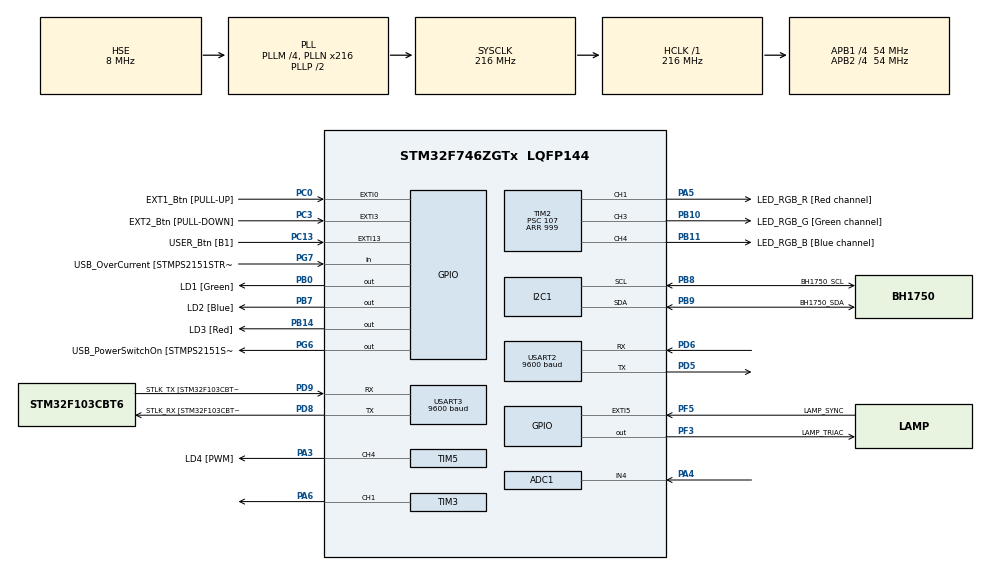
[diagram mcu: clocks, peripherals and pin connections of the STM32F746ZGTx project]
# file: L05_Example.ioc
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ADC1.Channel-0\#ChannelRegularConversion=ADC_CHANNEL_4
ADC1.NbrOfConversionFlag=1
ADC1.Rank-0\#ChannelRegularConversion=1
ADC1.SamplingTime-0\#ChannelRegularConversion=ADC_SAMPLETIME_3CYCLES
ADC1.master=1
ARM.CMSIS.5.7.0.CMSISJjCORE=true
ARM.CMSIS.5.7.0.CMSISJjDSP=Library
Dma.ADC1.0.Direction=DMA_PERIPH_TO_MEMORY
Dma.ADC1.0.FIFOMode=DMA_FIFOMODE_DISABLE
Dma.ADC1.0.Instance=DMA2_Stream0
Dma.ADC1.0.MemDataAlignment=DMA_MDATAALIGN_HALFWORD
Dma.ADC1.0.MemInc=DMA_MINC_ENABLE
Dma.ADC1.0.Mode=DMA_CIRCULAR
Dma.ADC1.0.PeriphDataAlignment=DMA_PDATAALIGN_HALFWORD
Dma.ADC1.0.PeriphInc=DMA_PINC_DISABLE
Dma.ADC1.0.Priority=DMA_PRIORITY_LOW
Dma.Request0=ADC1
I2C1.Timing=0x20404768
Mcu.Family=STM32F7
Mcu.Name=STM32F746ZGTx
Mcu.Package=LQFP144
NVIC.ADC_IRQn=true\:0\:0\:false\:false\:true\:true\:true\:true
NVIC.DMA2_Stream0_IRQn=true\:0\:0\:false\:false\:true\:false\:true\:true
NVIC.EXTI15_10_IRQn=true\:0\:0\:false\:false\:true\:true\:true\:true
NVIC.EXTI9_5_IRQn=true\:0\:0\:false\:false\:true\:true\:true\:true
NVIC.PriorityGroup=NVIC_PRIORITYGROUP_4
NVIC.TIM2_IRQn=true\:0\:0\:false\:false\:true\:true\:true\:true
NVIC.TIM4_IRQn=true\:0\:0\:false\:false\:true\:true\:true\:true
NVIC.TIM6_DAC_IRQn=true\:0\:0\:false\:false\:true\:true\:true\:true
NVIC.USART2_IRQn=true\:0\:0\:false\:false\:true\:true\:true\:true
NVIC.USART3_IRQn=true\:0\:0\:false\:false\:true\:true\:true\:true
PA1.GPIO_Label=RMII_REF_CLK [LAN8742A-CZ-TR_REFCLK0]
PA1.Signal=ETH_REF_CLK
PA10.GPIO_Label=USB_ID
PA10.Signal=USB_OTG_FS_ID
PA11.GPIO_Label=USB_DM
PA11.Signal=USB_OTG_FS_DM
PA12.GPIO_Label=USB_DP
PA12.Signal=USB_OTG_FS_DP
PA13.GPIO_Label=TMS
PA13.Mode=Serial_Wire
PA13.Signal=SYS_JTMS-SWDIO
PA14.GPIO_Label=TCK
PA14.Mode=Serial_Wire
PA14.Signal=SYS_JTCK-SWCLK
PA2.GPIO_Label=RMII_MDIO [LAN8742A-CZ-TR_MDIO]
PA2.Signal=ETH_MDIO
PA3.GPIO_Label=LD4 [PWM]
PA3.Signal=S_TIM5_CH4
PA4.Signal=ADCx_IN4
PA5.GPIO_Label=LED_RGB_R [Red channel]
PA5.Signal=S_TIM2_CH1_ETR
PA6.Signal=S_TIM3_CH1
PA7.GPIO_Label=RMII_CRS_DV [LAN8742A-CZ-TR_CRS_DV]
PA7.Signal=ETH_CRS_DV
PA8.GPIO_Label=USB_SOF [TP1]
PA8.Signal=USB_OTG_FS_SOF
PA9.GPIO_Label=USB_VBUS
PA9.Signal=USB_OTG_FS_VBUS
PB0.GPIO_Label=LD1 [Green]
PB0.Signal=GPIO_Output
PB10.GPIO_Label=LED_RGB_G [Green channel]
PB10.Signal=S_TIM2_CH3
PB11.GPIO_Label=LED_RGB_B [Blue channel]
PB11.Signal=S_TIM2_CH4
PB13.GPIO_Label=RMII_TXD1 [LAN8742A-CZ-TR_TXD1]
PB13.Signal=ETH_TXD1
PB14.GPIO_Label=LD3 [Red]
PB14.Signal=GPIO_Output
PB3.GPIO_Label=SW0
PB3.Signal=SYS_JTDO-SWO
PB7.GPIO_Label=LD2 [Blue]
PB7.Signal=GPIO_Output
PB8.GPIO_Label=BH1750_SCL
PB8.Mode=I2C
PB8.Signal=I2C1_SCL
PB9.GPIO_Label=BH1750_SDA
PB9.Mode=I2C
PB9.Signal=I2C1_SDA
PC0.GPIO_Label=EXT1_Btn [PULL-UP]
PC0.GPIO_ModeDefaultEXTI=GPIO_MODE_IT_FALLING
PC0.GPIO_PuPd=GPIO_PULLUP
PC0.Signal=GPXTI0
PC1.GPIO_Label=RMII_MDC [LAN8742A-CZ-TR_MDC]
PC1.Signal=ETH_MDC
PC13.GPIO_Label=USER_Btn [B1]
PC13.Signal=GPXTI13
PC14/OSC32_IN.Mode=LSE-External-Oscillator
PC14/OSC32_IN.Signal=RCC_OSC32_IN
PC15/OSC32_OUT.Mode=LSE-External-Oscillator
PC15/OSC32_OUT.Signal=RCC_OSC32_OUT
PC3.GPIO_Label=EXT2_Btn [PULL-DOWN]
PC3.GPIO_PuPd=GPIO_PULLDOWN
PC3.Signal=GPXTI3
PC4.GPIO_Label=RMII_RXD0 [LAN8742A-CZ-TR_RXD0]
PC4.Signal=ETH_RXD0
PC5.GPIO_Label=RMII_RXD1 [LAN8742A-CZ-TR_RXD1]
PC5.Signal=ETH_RXD1
PD12.Signal=S_TIM4_CH1
PD5.Mode=Asynchronous
PD5.Signal=USART2_TX
PD6.Mode=Asynchronous
PD6.Signal=USART2_RX
PD8.GPIO_Label=STLK_RX [STM32F103CBT6_PA3]
PD8.Mode=Asynchronous
PD8.Signal=USART3_TX
PD9.GPIO_Label=STLK_TX [STM32F103CBT6_PA2]
PD9.Mode=Asynchronous
PD9.Signal=USART3_RX
PF3.GPIO_Label=LAMP_TRIAC
PF3.GPIO_Speed=GPIO_SPEED_FREQ_HIGH
PF3.Signal=GPIO_Output
PF5.GPIO_Label=LAMP_SYNC
PF5.Signal=GPXTI5
PG11.GPIO_Label=RMII_TX_EN [LAN8742A-CZ-TR_TXEN]
PG11.Signal=ETH_TX_EN
PG13.GPIO_Label=RMII_TXD0 [LAN8742A-CZ-TR_TXD0]
PG13.Signal=ETH_TXD0
PG6.GPIO_Label=USB_PowerSwitchOn [STMPS2151STR_EN]
PG6.Signal=GPIO_Output
PG7.GPIO_Label=USB_OverCurrent [STMPS2151STR_FAULT]
PG7.Signal=GPIO_Input
PH0/OSC_IN.GPIO_Label=MCO [STM32F103CBT6_PA8]
PH0/OSC_IN.Mode=HSE-External-Clock-Source
PH0/OSC_IN.Signal=RCC_OSC_IN
PH1/OSC_OUT.Mode=HSE-External-Clock-Source
PH1/OSC_OUT.Signal=RCC_OSC_OUT
ProjectManager.HeapSize=0x200
ProjectManager.StackSize=0x400
ProjectManager.TargetToolchain=STM32CubeIDE
RCC.48MHZClocksFreq_Value=24000000
RCC.AHBFreq_Value=216000000
RCC.APB1CLKDivider=RCC_HCLK_DIV4
RCC.APB1Freq_Value=54000000
RCC.APB1TimFreq_Value=108000000
RCC.APB2CLKDivider=RCC_HCLK_DIV4
RCC.APB2Freq_Value=54000000
RCC.APB2TimFreq_Value=108000000
RCC.CortexFreq_Value=216000000
RCC.HCLKFreq_Value=216000000
RCC.HSE_VALUE=8000000
RCC.HSI_VALUE=16000000
RCC.PLLM=4
RCC.PLLMUL=RCC_PLL_MUL9
RCC.PLLN=216
RCC.PLLQ=3
RCC.PLLSourceVirtual=RCC_PLLSOURCE_HSE
RCC.PRESCALERUSB=RCC_USBCLKSOURCE_PLL_DIV1_5
RCC.SYSCLKFreq_VALUE=216000000
RCC.SYSCLKSource=RCC_SYSCLKSOURCE_PLLCLK
RCC.SYSCLKSourceVirtual=RCC_SYSCLKSOURCE_PLLCLK
RCC.USART3CLockSelection=RCC_USART3CLKSOURCE_SYSCLK
RCC.USBFreq_Value=144000000
RCC.VCOOutputFreq_Value=432000000
SH.ADCx_IN4.0=ADC1_IN4,IN4
SH.S_TIM2_CH1_ETR.0=TIM2_CH1,PWM Generation1 CH1
SH.S_TIM2_CH3.0=TIM2_CH3,PWM Generation3 CH3
SH.S_TIM2_CH4.0=TIM2_CH4,PWM Generation4 CH4
SH.S_TIM3_CH1.0=TIM3_CH1,PWM Generation1 CH1
SH.S_TIM4_CH1.0=TIM4_CH1
SH.S_TIM5_CH4.0=TIM5_CH4,PWM Generation4 CH4
TIM1.Period=999
TIM1.Prescaler=107
TIM2.Channel-PWM\ Generation1\ CH1=TIM_CHANNEL_1
TIM2.Channel-PWM\ Generation3\ CH3=TIM_CHANNEL_3
TIM2.Channel-PWM\ Generation4\ CH4=TIM_CHANNEL_4
TIM2.Period=999
TIM2.Prescaler=107
TIM3.Channel-PWM\ Generation1\ CH1=TIM_CHANNEL_1
TIM3.OC1Preload_PWM=DISABLE
TIM3.Period=999
TIM3.Prescaler=71
TIM3.Pulse-PWM\ Generation1\ CH1=500
TIM4.Period=1999
TIM4.Prescaler=10799
TIM5.Channel-PWM\ Generation4\ CH4=TIM_CHANNEL_4
TIM5.Period=999
TIM5.Prescaler=107
TIM6.Period=999
TIM6.Prescaler=107
USART2.BaudRate=9600
USART2.VirtualMode-Asynchronous=VM_ASYNC
USART3.BaudRate=9600
USART3.VirtualMode-Asynchronous=VM_ASYNC
VP_ARM.CMSIS_VS_CMSISJjCORE_5.4.0_5.7.0.Mode=CMSISJjCORE
VP_ARM.CMSIS_VS_CMSISJjDSP_1.8.0_5.7.0.Mode=CMSISJjDSP
VP_TIM1_VS_ClockSourceINT.Mode=Internal
VP_TIM2_VS_ClockSourceINT.Mode=Internal
VP_TIM4_VS_ClockSourceINT.Mode=Internal
VP_TIM5_VS_ClockSourceINT.Mode=Internal
VP_TIM6_VS_ClockSourceINT.Mode=Enable_Timer
board=NUCLEO-F746ZG

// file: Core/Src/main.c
/* USER CODE BEGIN Header */
/**
  ******************************************************************************
  * @file           : main.c
  * @brief          : Main program body
  ******************************************************************************
  * @attention
  *
  * Copyright (c) 2023 STMicroelectronics.
  * All rights reserved.
  *
  * This software is licensed under terms that can be found in the LICENSE file
  * in the root directory of this software component.
  * If no LICENSE file comes with this software, it is provided AS-IS.
  *
  ******************************************************************************
  */
/* USER CODE END Header */
#include "main.h"
#include "adc.h"
#include "dma.h"
#include "i2c.h"
#include "tim.h"
#include "usart.h"
#include "gpio.h"

/* USER CODE BEGIN Includes */
#include "bh1750.h"
#include "bh1750_config.h"
#include <stdio.h>
#include "pid_controller_config.h"
#include "arm_math.h"

/* USER CODE END Includes */

/* USER CODE BEGIN PV */
float light;
uint32_t cnt = 0;
int light_int;
float current;
float current_ref=3;
uint8_t tx_buffer[10];
uint8_t tx_buffer_received[4];
int duty;
float duty_pid;
const int tx_msg_len = 3;

float ain;
/* USER CODE END PV */

void SystemClock_Config(void);

/* USER CODE BEGIN 0 */
void HAL_TIM_PeriodElapsedCallback(TIM_HandleTypeDef *htim)
{

 if(htim == &htim4)
 {

	 HAL_ADC_Start(&hadc1);
	 	if(HAL_ADC_PollForConversion(&hadc1, 1) == HAL_OK)
	 	{
	 		 ain = 3.3f * HAL_ADC_GetValue(&hadc1) / 4095.0f; // [V]
	 		    current = 1000.0f * (ain / 1000);              // [mA]

	 		   duty_pid = PID_GetOutput(&hpid1, current_ref, current);  // [%]

	 	//__HAL_TIM_SET_COMPARE(&htim3, TIM_CHANNEL_1, (uint32_t)(duty*10)); // ARR = 999

	 	}

	 //odczyt z czujnika
	 cnt=cnt+1;
	  light = BH1750_ReadIlluminance_lux(&hbh1750_1);
	  light = light * 1000; // mili lux
	light_int = (int)light;

	uint8_t tx_buffer[64];
	duty = strtol((char*)&tx_buffer_received, 0, 10);
	int msg_len = sprintf((char*)tx_buffer, "t %d r %d c %d\n", light_int, current, duty);
	HAL_UART_Transmit(&huart3, tx_buffer, msg_len, 100);

//	if(cnt%5 ==0){
//	uint8_t tx_buffer[64];
//	// int msg_len = sprintf((char*)tx_buffer, "mili lux: %d\n\r", light_int);
//	int msg_len = sprintf((char*)tx_buffer, "%d\n", light_int);
//	HAL_UART_Transmit(&huart3, tx_buffer, msg_len, 100);
//	}
 }

// else if(htim==&htim1)
// {
//
//	HAL_ADC_Start(&hadc1);
//	if(HAL_ADC_PollForConversion(&hadc1, 1) == HAL_OK)
//	{
//		float ain = 3.3f * HAL_ADC_GetValue(&hadc1) / 4095.0f; // [V]
//		    current = 1000.0f * (ain / 100);              // [mA]
//	}
// }

}

void HAL_UART_RxCpltCallback(UART_HandleTypeDef *huart)
{
if(huart == &huart3)
{
duty = strtol((char*)&tx_buffer_received, 0, 10);
int pulse = duty*10;

__HAL_TIM_SET_COMPARE(&htim3, TIM_CHANNEL_1, pulse);

sscanf((char*)&rx_buffer[1], "%f", &duty_pid);

//if(rx_buffer[0] == 'R')
//    {
//
//      sscanf((char*)&rx_buffer[1], "%f", &current_ref);
//      sscanf((char*)&rx_buffer[1], "%f", &duty_pid);
//    __HAL_TIM_SET_COMPARE(&htim3, TIM_CHANNEL_1, (uint32_t)(duty_pid*10));
//
//    }

//HAL_UART_Transmit(&huart3, tx_buffer, tx_msg_len,10);
}

}

/* USER CODE END 0 */

int main(void)
{

  /* MCU Configuration--------------------------------------------------------*/

  /* Reset of all peripherals, Initializes the Flash interface and the Systick. */
  HAL_Init();

  /* Configure the system clock */
  SystemClock_Config();

  /* Initialize all configured peripherals */
  MX_GPIO_Init();
  MX_DMA_Init();
  MX_TIM2_Init();
  MX_TIM3_Init();
  MX_TIM5_Init();
  MX_I2C1_Init();
  MX_TIM6_Init();
  MX_TIM4_Init();
  MX_USART2_UART_Init();
  MX_ADC1_Init();
  MX_USART3_UART_Init();
  MX_TIM1_Init();
  /* USER CODE BEGIN 2 */
  HAL_TIM_Base_Start_IT(&htim1);
  HAL_TIM_Base_Start_IT(&htim4);
  HAL_TIM_PWM_Start (& htim3 , TIM_CHANNEL_1 ) ;
  /* USER CODE END 2 */

  /* Infinite loop */
  /* USER CODE BEGIN WHILE */
while (1)
  {
	HAL_UART_Receive_IT(& huart3 , tx_buffer_received , tx_msg_len );
    /* USER CODE END WHILE */

  }
}

void SystemClock_Config(void)
{
  RCC_OscInitTypeDef RCC_OscInitStruct = {0};
  RCC_ClkInitTypeDef RCC_ClkInitStruct = {0};

  /** Configure LSE Drive Capability
  */
  HAL_PWR_EnableBkUpAccess();

  /** Configure the main internal regulator output voltage
  */
  __HAL_RCC_PWR_CLK_ENABLE();
  __HAL_PWR_VOLTAGESCALING_CONFIG(PWR_REGULATOR_VOLTAGE_SCALE1);

  /** Initializes the RCC Oscillators according to the specified parameters
  * in the RCC_OscInitTypeDef structure.
  */
  RCC_OscInitStruct.OscillatorType = RCC_OSCILLATORTYPE_HSE;
  RCC_OscInitStruct.HSEState = RCC_HSE_BYPASS;
  RCC_OscInitStruct.PLL.PLLState = RCC_PLL_ON;
  RCC_OscInitStruct.PLL.PLLSource = RCC_PLLSOURCE_HSE;
  RCC_OscInitStruct.PLL.PLLM = 4;
  RCC_OscInitStruct.PLL.PLLN = 216;
  RCC_OscInitStruct.PLL.PLLP = RCC_PLLP_DIV2;
  RCC_OscInitStruct.PLL.PLLQ = 3;
  if (HAL_RCC_OscConfig(&RCC_OscInitStruct) != HAL_OK)
  {
    Error_Handler();
  }

  /** Activate the Over-Drive mode
  */
  if (HAL_PWREx_EnableOverDrive() != HAL_OK)
  {
    Error_Handler();
  }

  /** Initializes the CPU, AHB and APB buses clocks
  */
  RCC_ClkInitStruct.ClockType = RCC_CLOCKTYPE_HCLK|RCC_CLOCKTYPE_SYSCLK
                              |RCC_CLOCKTYPE_PCLK1|RCC_CLOCKTYPE_PCLK2;
  RCC_ClkInitStruct.SYSCLKSource = RCC_SYSCLKSOURCE_PLLCLK;
  RCC_ClkInitStruct.AHBCLKDivider = RCC_SYSCLK_DIV1;
  RCC_ClkInitStruct.APB1CLKDivider = RCC_HCLK_DIV4;
  RCC_ClkInitStruct.APB2CLKDivider = RCC_HCLK_DIV4;

  if (HAL_RCC_ClockConfig(&RCC_ClkInitStruct, FLASH_LATENCY_7) != HAL_OK)
  {
    Error_Handler();
  }
}

void Error_Handler(void)
{
  __disable_irq();
  while (1)
  {
  }
}
